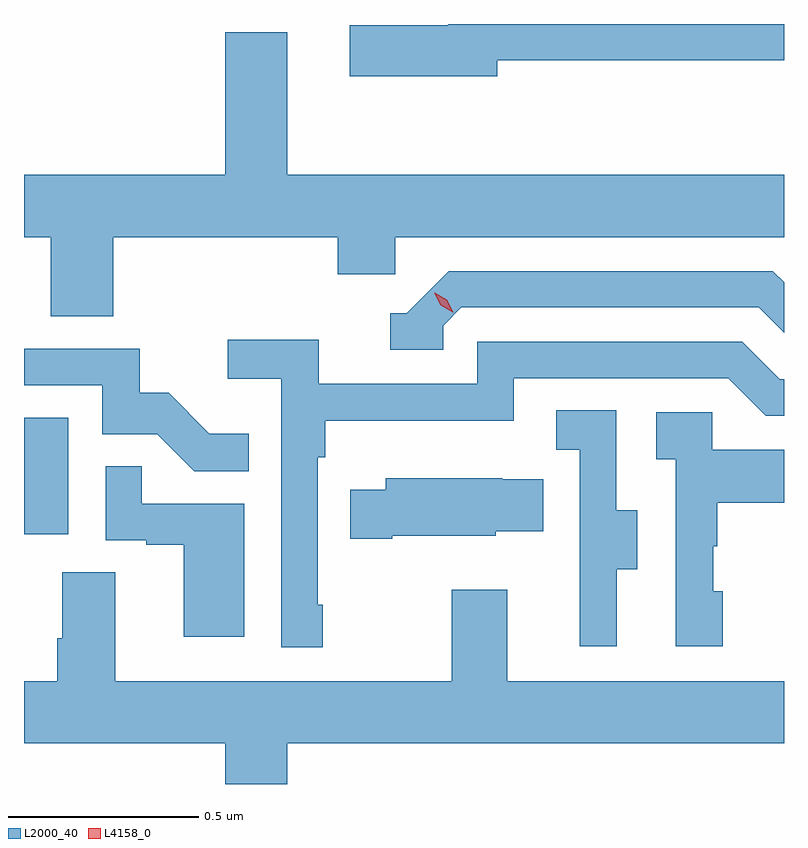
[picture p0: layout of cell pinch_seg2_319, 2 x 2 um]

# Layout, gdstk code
import gdstk
lib = gdstk.Library(unit=1e-6, precision=1e-09)
def R(c, l, rs):  # rectangles x0, y0, x1, y1
    for r in rs: c.add(gdstk.rectangle(r[:2], r[2:], *l))
def P(c, l, *ps):  # polygons
    for p in ps: c.add(gdstk.Polygon(p, *l))
L2000_40 = (2000, 40)
L4158_0 = (4158, 0)

pinch_seg2_319 = lib.new_cell('pinch_seg2_319')
R(pinch_seg2_319, L2000_40, [(907.735,638.862,907.852,639.169)])
P(pinch_seg2_319, L2000_40, [(908.98,640.11),(909.735,640.11),(909.735,640.205),(908.852,640.205),(908.852,640.202),(908.592,640.202),(908.592,640.067),(908.98,640.067)],
  [(907.97,639.644),(908.561,639.644),(908.561,639.546),(908.712,639.546),(908.712,639.644),(909.735,639.644),(909.735,639.808),(908.428,639.808),(908.428,640.183),(908.264,640.183),(908.264,639.808),(907.735,639.808),(907.735,639.644),(907.805,639.644),(907.805,639.436),(907.97,639.436)],
  [(908.838,639.411),(908.886,639.459),(909.669,639.459),(909.735,639.393),(909.735,639.526),(909.706,639.555),(908.853,639.555),(908.742,639.444),(908.699,639.444),(908.699,639.348),(908.838,639.348)],
  [(908.521,638.677),(908.508,638.677),(908.508,639.065),(908.528,639.065),(908.528,639.161),(909.024,639.161),(909.024,639.273),(909.588,639.273),(909.687,639.174),(909.735,639.174),(909.735,639.27),(909.724,639.27),(909.625,639.369),(908.928,639.369),(908.928,639.258),(908.51,639.258),(908.51,639.374),(908.271,639.374),(908.271,639.272),(908.412,639.272),(908.412,638.565),(908.521,638.565)],
  [(908.327,639.127),(908.223,639.127),(908.116,639.234),(908.04,639.234),(908.04,639.351),(907.735,639.351),(907.735,639.255),(907.941,639.255),(907.941,639.126),(908.085,639.126),(908.183,639.028),(908.327,639.028)],
  [(909.295,638.77),(909.349,638.77),(909.349,638.925),(909.294,638.925),(909.294,639.188),(909.135,639.188),(909.135,639.085),(909.198,639.085),(909.198,638.781),(909.197,638.781),(909.197,638.568),(909.295,638.568)],
  [(909.574,638.712),(909.549,638.712),(909.549,638.831),(909.559,638.831),(909.559,638.945),(909.735,638.945),(909.735,639.085),(909.546,639.085),(909.546,639.183),(909.399,639.183),(909.399,639.059),(909.45,639.059),(909.45,638.568),(909.574,638.568)],
  [(908.314,638.943),(908.045,638.943),(908.045,639.041),(907.95,639.041),(907.95,638.847),(908.057,638.847),(908.057,638.835),(908.156,638.835),(908.156,638.592),(908.314,638.592)],
  [(908.704,638.858),(908.976,638.858),(908.976,638.87),(909.101,638.87),(909.101,639.007),(908.993,639.007),(908.993,639.01),(908.687,639.01),(908.687,638.98),(908.593,638.98),(908.593,638.851),(908.704,638.851)],
  [(908.428,638.312),(909.735,638.312),(909.735,638.476),(909.007,638.476),(909.007,638.716),(908.86,638.716),(908.86,638.476),(907.975,638.476),(907.975,638.762),(907.835,638.762),(907.835,638.588),(907.823,638.588),(907.823,638.476),(907.735,638.476),(907.735,638.312),(908.264,638.312),(908.264,638.205),(908.428,638.205)])
P(pinch_seg2_319, L4158_0, [(908.863,639.446),(908.832,639.465),(908.815,639.498),(908.815,639.498),(908.816,639.498),(908.847,639.479),(908.864,639.446),(908.864,639.446)])

lib.write_gds('pinch_seg2_319.gds')
